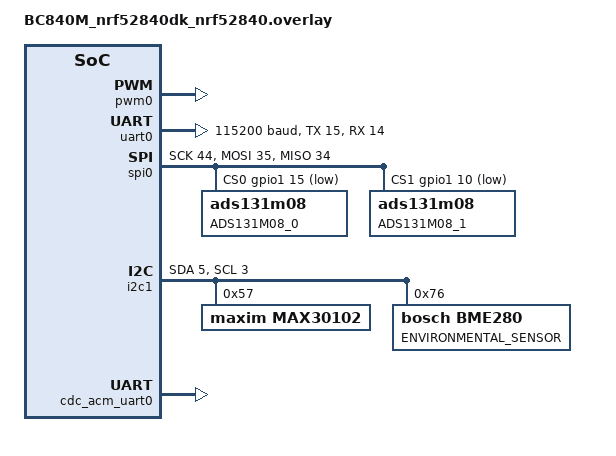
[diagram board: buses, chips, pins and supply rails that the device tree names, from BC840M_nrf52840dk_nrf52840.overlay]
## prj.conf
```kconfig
CONFIG_INIT_STACKS=y
CONFIG_THREAD_STACK_INFO=y
CONFIG_MAIN_STACK_SIZE=2048
CONFIG_SYSTEM_WORKQUEUE_STACK_SIZE=4096
CONFIG_BT_RX_STACK_SIZE=4096

# PWM
CONFIG_PWM=y
CONFIG_PWM_NRF5_SW=n
CONFIG_PWM_NRFX=y


CONFIG_GPIO=y
CONFIG_SPI=y
#CONFIG_SPI_0=y

# choose UART console
CONFIG_UART_CONSOLE=y

# Debug config
CONFIG_LOG=y
CONFIG_LOG_BUFFER_SIZE=2048
CONFIG_LOG_DEFAULT_LEVEL=4
# RTT Viewer
CONFIG_USE_SEGGER_RTT=y
CONFIG_LOG_BACKEND_RTT=y
#CONFIG_LOG_BACKEND_RTT_MODE_DROP=y
CONFIG_LOG_PRINTK=y

# BLE
CONFIG_BT=y
#CONFIG_BT_DEBUG_LOG=y
CONFIG_BT_PERIPHERAL=y
CONFIG_BT_DEVICE_NAME="BT840"
CONFIG_BT_GATT_CLIENT=y
CONFIG_BT_HCI_ACL_FLOW_CONTROL=y
CONFIG_BT_USER_PHY_UPDATE=y
CONFIG_BT_CTLR_PHY_2M=y
CONFIG_BT_CTLR_PHY_CODED=n
CONFIG_BT_ATT_PREPARE_COUNT=10
CONFIG_BT_CONN_TX_MAX=10
CONFIG_BT_L2CAP_TX_BUF_COUNT=10
CONFIG_BT_BUF_ACL_TX_SIZE=250
CONFIG_BT_BUF_ACL_RX_SIZE=250
CONFIG_BT_L2CAP_TX_MTU=250

# C++
CONFIG_CPLUSPLUS=y
CONFIG_LIB_CPLUSPLUS=y
CONFIG_NEWLIB_LIBC=y
#if  printf should be able to print float
CONFIG_NEWLIB_LIBC_FLOAT_PRINTF=y

#MAX30102
CONFIG_I2C=y

#BME280
CONFIG_SENSOR=y
CONFIG_BME280=y

#I2S AudioModule
CONFIG_I2S=y

# Digital Microphone (DMIC) Module
CONFIG_AUDIO=y
CONFIG_AUDIO_DMIC=y

# For FFT implementation
CONFIG_CMSIS_DSP=y
CONFIG_CMSIS_DSP_TRANSFORM=y
CONFIG_CMSIS_DSP_COMPLEXMATH=y
CONFIG_NEWLIB_LIBC=y
CONFIG_FPU=y

#USB transfer
CONFIG_USB_DEVICE_STACK=y
CONFIG_USB_DEVICE_PRODUCT="BT840"
# CONFIG_USB_DRIVER_LOG_LEVEL_ERR=y
# CONFIG_USB_DEVICE_LOG_LEVEL_ERR=y
CONFIG_SERIAL=y
# CONFIG_UART_CONSOLE=y
CONFIG_CONSOLE=n
CONFIG_UART_LINE_CTRL=y
CONFIG_UART_ASYNC_API=y
#CONFIG_UART_INTERRUPT_DRIVEN=y

CONFIG_HEAP_MEM_POOL_SIZE=2048

# Needed for FOTA
########################################################
# Enable mcumgr.
CONFIG_MCUMGR=y

# Ensure an MCUboot-compatible binary is generated.
CONFIG_BOOTLOADER_MCUBOOT=y
#CONFIG_NCS_SAMPLE_MCUMGR_BT_OTA_DFU=y

# Enable most core commands.
CONFIG_MCUMGR_CMD_IMG_MGMT=y
CONFIG_MCUMGR_CMD_OS_MGMT=y

# MCUboot log level
CONFIG_MCUBOOT_UTIL_LOG_LEVEL_WRN=y

# Allow for large Bluetooth data packets.
CONFIG_BT_L2CAP_TX_MTU=252
CONFIG_BT_BUF_ACL_RX_SIZE=256

# Enable the Bluetooth (unauthenticated) and shell mcumgr transports.
CONFIG_MCUMGR_SMP_BT=y
CONFIG_MCUMGR_SMP_BT_AUTHEN=n
CONFIG_MCUMGR_SMP_BT_CONN_PARAM_CONTROL=y
########################################################
```

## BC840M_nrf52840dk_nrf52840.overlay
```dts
// To get started, press Ctrl+Space to bring up the completion menu and view the available nodes.
// For more help, browse the DeviceTree documentation at https: //docs.zephyrproject.org/latest/guides/dts/index.html

&pwm0 {
	status = "okay";
	ch0-pin = <37>;
	//ch0-inverted;
};

&uart0 {
    status = "okay";
    current-speed = <115200>;
    tx-pin = <15>; //15 (BC840M), 13 (BT840)
    rx-pin = <14>; //14 (BC840M), 32 (BT840)
    rts-pin = <0xFFFFFFFF>;
    cts-pin = <0xFFFFFFFF>;
};

&spi0 {
    compatible = "nordic,nrf-spim";
    status = "okay";
    sck-pin =  <44>;         //44 (BC840M),  15 (BT840)
    mosi-pin = <35>; //DIN   //35 (BC840M),  14 (BT840)
    miso-pin = <34>; //DOUT  //34 (BC840M),  34 (BT840)
    cs-gpios = <&gpio1 15 GPIO_ACTIVE_LOW>, <&gpio1 10 GPIO_ACTIVE_LOW>; //1.15 and 1.10 (BC840M), 1.01 and 1.15 (BT840)

    ads131m08_0: ads131m08@0 {
        status = "okay";
        reg = <0>;
        label = "ADS131M08_0";
    };

    ads131m08_1: ads131m08@1 {
        status = "okay";
        reg = <1>;
        label = "ADS131M08_1";
    };
};

&spi1 {
    status = "disabled";
};

&i2c0 {
    status = "disabled";
};

&i2c1 {
    status = "okay";
    sda-pin = <5>; //5 (BC840M), 26 (BT840)
    scl-pin = <3>; //3 (BC840M), 27 (BT840)
    max30102@57 {
        compatible = "maxim,max30102";
        label = "MAX30102";
        reg = <0x57>;
        mode = <2>;
        status = "okay";
    };
    bme280: bme280@76 {
        /* 0x76 - SDO <-> GND */
        /* 0x77 - SDO <-> VCC */
        compatible = "bosch,bme280";
        reg = <0x76>;
        label = "ENVIRONMENTAL_SENSOR";
    };
};

&zephyr_udc0 {
    cdc_acm_uart0 {
        compatible = "zephyr,cdc-acm-uart";
        label = "CDC_ACM_0";
    };
};
```

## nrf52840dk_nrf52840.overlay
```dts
// To get started, press Ctrl+Space to bring up the completion menu and view the available nodes.
// For more help, browse the DeviceTree documentation at https: //docs.zephyrproject.org/latest/guides/dts/index.html

&pwm0 {
	status = "okay";
	ch0-pin = <37>;
	//ch0-inverted;
};

&uart0 {
    status = "okay";
    current-speed = <115200>;
    tx-pin = <13>; //15 (BC840M), 13 (BT840)
    rx-pin = <32>; //14 (BC840M), 32 (BT840)
    rts-pin = <0xFFFFFFFF>;
    cts-pin = <0xFFFFFFFF>;
};

&spi0 {
    compatible = "nordic,nrf-spim";
    status = "okay";
    sck-pin =  <15>;         //44 (BC840M),  15 (BT840)
    mosi-pin = <14>; //DIN   //35 (BC840M),  14 (BT840)
    miso-pin = <34>; //DOUT  //34 (BC840M),  34 (BT840)
    cs-gpios = <&gpio1 1 GPIO_ACTIVE_LOW>, <&gpio1 15 GPIO_ACTIVE_LOW>; //1.15 and 1.10 (BC840M), 1.01 and 1.15 (BT840)

    ads131m08_0: ads131m08@0 {
        status = "okay";
        reg = <0>;
        label = "ADS131M08_0";
    };

    ads131m08_1: ads131m08@1 {
        status = "okay";
        reg = <1>;
        label = "ADS131M08_1";
    };
};

&spi1 {
    status = "disabled";
};

&i2c0 {
    status = "disabled";
};

&i2c1 {
    status = "okay";
    sda-pin = <26>; //5 (BC840M), 26 (BT840)
    scl-pin = <27>; //3 (BC840M), 27 (BT840)
    max30102@57 {
        compatible = "maxim,max30102";
        label = "MAX30102";
        reg = <0x57>;
        mode = <2>;
        status = "okay";
    };
    bme280: bme280@76 {
        /* 0x76 - SDO <-> GND */
        /* 0x77 - SDO <-> VCC */
        compatible = "bosch,bme280";
        reg = <0x76>;
        label = "ENVIRONMENTAL_SENSOR";
    };
};

&zephyr_udc0 {
    cdc_acm_uart0 {
        compatible = "zephyr,cdc-acm-uart";
        label = "CDC_ACM_0";
    };
};


// &clock {
//     hfclkaudio-frequency = <11289600>;
// };

// i2s_rxtx: &i2s0 {
//     status = "okay";
//     sck-pin = <45>;
//     lrck-pin = <46>;
//     sdout-pin = <44>;
//     sdin-pin = <42>;
//     clock-source = "ACLK";
// };

// dmic_dev: &pdm0 {
// 	status = "okay";
// 	clk-pin = <36>;
// 	din-pin = <23>;
// 	clock-source = "ACLK";
// };
```

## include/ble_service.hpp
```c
#pragma once

#include <functional>

#include "ble_types.hpp"
#include "commandid.hpp"

namespace Bluetooth
{
    /**
     * @brief Function used to setup BLE Service
     * 
     * @return BLE error code 
     */
    int SetupBLE();

    /**
     * @brief Send BLE notification through ADS131M08 Data Pipe.
     * 
     * @param data pointer to datasource containing ADS131M08 data samples
     * @param len  the number of samples to transfer
     */
    void Ads131m08Notify(const uint8_t* data, const uint8_t len);

    /**
     * @brief Send BLE notification through ADS131M08_1 Data Pipe.
     * 
     * @param data pointer to datasource containing ADS131M08 data samples
     * @param len  the number of samples to transfer
     */
    void Ads131m08_1_Notify(const uint8_t* data, const uint8_t len);

    /**
     * @brief Send BLE notification through MAX30102 Data Pipe.
     * 
     * @param data pointer to datasource containing MAX30102 data samples
     * @param len  the number of samples to transfer
     */
    void Max30102Notify(const uint8_t* data, const uint8_t len);

    /**
     * @brief Send BLE notification through MPU6050 Data Pipe.
     * 
     * @param data pointer to datasource containing MPU6050 data samples
     * @param len  the number of samples to transfer
     */
    void Mpu6050Notify(const uint8_t* data, const uint8_t len);

    /**
     * @brief Send BLE notification through QMC5883L Data Pipe.
     * 
     * @param data pointer to datasource containing QMC5883L data samples
     * @param len  the number of samples to transfer
     */
    void Qmc5883lNotify(const uint8_t* data, const uint8_t len);

    /**
     * @brief Send BLE notification through BME280 Data Pipe.
     * 
     * @param data pointer to datasource containing BME280 data samples
     * @param len  the number of samples to transfer
     */
    void Bme280Notify(const uint8_t* data, const uint8_t len);

    /**
     * @brief Start taking signal strength (RSSI) values
     * @param rssi pointer to signal strength value
     */
    void read_conn_rssi(int8_t *rssi);

    /**
     * @brief Start taking signal strength (RSSI) values
     */
    void RssiStartSampling();
    
    /**
     * @brief Stop taking signal strength (RSSI) values
     */
    void RssiStopSampling();

    /**
     * @brief Register Control callback
     * 
     * @param commandId command ID
     * @param action Action to call when command ith commandId is received via BLE
     */
    void GattRegisterControlCallback(CommandId commandId, BleControlAction&& action);

}
```

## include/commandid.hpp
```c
#pragma once

#include <stddef.h>

/**
 * @brief Ids for commands sent via ble Gatt control characteristic
 */
enum class CommandId : uint8_t
{
    Ads131m08Cmd = 1,
    Bme280Cmd = 2,
    Max30102Cmd = 3,
    Mpu6050Cmd = 4,
    Qmc5883lCmd = 5,
    AlarmCmd = 6,  ///< Start/Stop playing Alarm
    DmicCmd = 7,   ///< Commands for Digital Microphone (DMIC)
    SystemCmd = 8, ///< For sending commands on the app/system level from where we can control every sensor/module
};
```

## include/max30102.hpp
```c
#pragma once

#include <zephyr/types.h>
#include <device.h>
#include <drivers/gpio.h>
//#include <drivers/i2c.h>
#include <sys/util.h>
#include <atomic>
#include "i2c_transport.hpp"
#include "device_string.hpp"

class UsbCommHandler;
//#define DT_DRV_COMPAT maxim_max30102

#define MAX30102_REG_INT_STS1 0x00
#define MAX30102_REG_INT_STS2 0x01
#define MAX30102_REG_INT_EN1 0x02
#define MAX30102_REG_INT_EN2 0x03
#define MAX30102_REG_FIFO_WR 0x04
#define MAX30102_REG_FIFO_OVF 0x05
#define MAX30102_REG_FIFO_RD 0x06
#define MAX30102_REG_FIFO_DATA 0x07
#define MAX30102_REG_FIFO_CFG 0x08
#define MAX30102_REG_MODE_CFG 0x09
#define MAX30102_REG_SPO2_CFG 0x0a
#define MAX30102_REG_LED1_PA 0x0c
#define MAX30102_REG_LED2_PA 0x0d
/* #define MAX30102_REG_LED3_PA		0x0e */
#define MAX30102_REG_PILOT_PA 0x10
#define MAX30102_REG_MULTI_LED1 0x11
#define MAX30102_REG_MULTI_LED2 0x12
#define MAX30102_REG_TINT 0x1f
#define MAX30102_REG_TFRAC 0x20
#define MAX30102_REG_TEMP_CFG 0x21
#define MAX30102_REG_PROX_INT 0x30
#define MAX30102_REG_REV_ID 0xfe
#define MAX30102_REG_PART_ID 0xff

#define MAX30102_INT_PPG_MASK (1 << 6)

#define MAX30102_FIFO_CFG_SMP_AVE_SHIFT 5
#define MAX30102_FIFO_CFG_FIFO_FULL_SHIFT 0
#define MAX30102_FIFO_CFG_ROLLOVER_EN_MASK (1 << 4)

#define MAX30102_MODE_CFG_SHDN_MASK (1 << 7)
#define MAX30102_MODE_CFG_RESET_MASK (1 << 6)

#define MAX30102_SPO2_ADC_RGE_SHIFT 5
#define MAX30102_SPO2_SR_SHIFT 2
#define MAX30102_SPO2_PW_SHIFT 0

#define MAX30102_PART_ID 0x15

#define FIFO_A_FULL_MASK    (1 << 7)
#define PPG_RDY_MASK        (1 << 6)
#define ALC_OVF_MASK        (1 << 5)
#define PWR_RDY_MASK        (1 << 0)
#define DIE_TEMP_RDY_MASK   (1 << 1)

#define MAX30102_BYTES_PER_CHANNEL 3
#define MAX30102_MAX_NUM_CHANNELS 2
#define MAX30102_MAX_BYTES_PER_SAMPLE (MAX30102_MAX_NUM_CHANNELS * \
                                       MAX30102_BYTES_PER_CHANNEL)

#define MAX30102_SLOT_LED_MASK 0x03

#define MAX30102_FIFO_DATA_BITS 18
#define MAX30102_FIFO_DATA_MASK ((1 << MAX30102_FIFO_DATA_BITS) - 1)

#define MAX30102_INTR_2_DIE_TEMP_RDY_EN 2
#define MAX30102_TEMP_CFG_TEMP_EN 1

/* Interrupt Status 1 Register */
#define MAX30102_INTR_STATUS_1_A_FULL(x) (((x) >> 7) & 0x1)
#define MAX30102_INTR_STATUS_1_PPG_RDY(x) (((x) >> 6) & 0x1)
#define MAX30102_INTR_STATUS_1_ALC_OVF(x) (((x) >> 5) & 0x1)
#define MAX30102_INTR_STATUS_1_PWR_RDY(x) (((x) >> 0) & 0x1)

/* Interrupt Status 2 Register */
#define MAX30102_INTR_STATUS_2_DIE_TEMP_RDY(x) (((x) >> 1) & 0x1)

    struct max30102_config {
        uint8_t interrupt_config_1;
        uint8_t interrupt_config_2;
        uint8_t fifo_config;
        uint8_t mode_config;
        uint8_t spo2_config;
        uint8_t led_pa[MAX30102_MAX_NUM_CHANNELS];
        uint8_t slot_config[MAX30102_MAX_NUM_CHANNELS];
    };

    enum class max30102_mode : uint8_t {
        MAX30102_MODE_HEART_RATE = 2,
        MAX30102_MODE_SPO2 = 3,
        MAX30102_MODE_MULTI_LED = 7,
    };

    enum class max30102_slot : uint8_t {
        MAX30102_SLOT_DISABLED = 0,
        MAX30102_SLOT_RED_LED1_PA,
        MAX30102_SLOT_IR_LED2_PA,
        MAX30102_SLOT_GREEN_LED3_PA,
        MAX30102_SLOT_RED_PILOT_PA,
        MAX30102_SLOT_IR_PILOT_PA,
        MAX30102_SLOT_GREEN_PILOT_PA,
    };

    enum class max30102_led_channel : uint8_t {
        MAX30102_LED_CHANNEL_RED = 0,
        MAX30102_LED_CHANNEL_IR,
        MAX30102_LED_CHANNEL_GREEN,
    };

    enum class max30102_pw : uint8_t {
        MAX30102_PW_15BITS = 0,
        MAX30102_PW_16BITS,
        MAX30102_PW_17BITS,
        MAX30102_PW_18BITS,
    };

    enum class max30102_intr_1 : uint8_t {
        MAX30102_INTR_1_ALC_OVF_EN = 32,
        MAX30102_INTR_1_PPG_RDY_EN = 64,
        MAX30102_INTR_1_A_FULL_EN = 128,
    };

/**
 * @brief Max30102 driver
 */
class Max30102 {

    using I2C_1DeviceName = DeviceString<'I', '2', 'C', '_', '1'>; 

    constexpr static uint8_t max30102_i2c_address = 0x57; //I2C Address
    constexpr static uint8_t max30102_id = 0x15; // Part ID
    uint8_t tx_buf[195] = {};

    struct max30102_data {
        const struct device *i2c;
        uint32_t raw[MAX30102_MAX_NUM_CHANNELS];
        uint8_t map[MAX30102_MAX_NUM_CHANNELS];
        uint8_t num_channels;

        /* Die temperature */
        int8_t tint;
        uint8_t tfrac;
    };

public:
    /**
     * @brief Construct a new Max30102 object
     */
    Max30102(UsbCommHandler &controller);

    /**
     * @brief Initialization function. Used to perform actual initialization. Because of software stack initialization
     * could not be done in constructor
     * @return Status, 0 for no errors
     */
    int Initialize();    

    /**
     * @brief Configure Max30102 device
     * 
     * @param config Configuration details
     * @return Status, 0 for no errors
     */
    int Configure(max30102_config config);

    /**
     * @brief Start taking Red and IR samples
     */
    void StartSampling();    

    /**
     * @brief Stop taking Red and IR samples
     */
    void StopSampling();

    /**
     * @brief Initiate Single Temperature Reading. Max30102 will generate interrupt when temperature sample is available.
     */
    void InitiateTemperatureReading();    

    /**
     * @brief Handle Max30102 Interrupt. Figure out interrupt reason and take the appropriate action
     */
    void HandleInterrupt(); 

    /**
     * @brief Check if MAX30102 device is connected to I2C bus
     */
    bool IsOnI2cBus(); 

private:
    /**
     * @brief Reset Max30102 device
     */
    void Reset();

    /**
     * @brief Shutdown Max30102 device
     */
    void Shutdown();

    /**
     * @brief Wakeup Max30102 device
     */
    void Wakeup();
    
    /**
     * @brief Read Temperature Registers
     */
    void TemperatureRead();
    uint8_t packet_cnt;
    std::atomic<bool> max30102_is_on_i2c_bus_; ///< Device status
    I2CTransport<I2C_1DeviceName, max30102_i2c_address> transport; ///< I2C transport for device
    UsbCommHandler &serialHandler; ///< USB communication controller

};
```

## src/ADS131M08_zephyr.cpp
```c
#include <zephyr.h>
#include <string.h>
#include <init.h>
#include <drivers/gpio.h>
#include <sys/printk.h>
//#include <sys/__assert.h>
#include <stdlib.h>
#include <drivers/spi.h>
#include <logging/log.h>

#include "ADS131M08_zephyr.hpp"

LOG_MODULE_REGISTER(ads131m08);

ADS131M08::ADS131M08() {

    LOG_INF("ADS131M08 Constructor!");
    // CS = cs; XTAL = xtal; DRDY = drdy; //You don't have to use DRDY, can also read off the ADS131_STATUS register.
    // SpiClk = clk;
}

void ADS131M08::init(uint8_t cs_pin, uint8_t drdy_pin, uint8_t sync_rst_pin, uint32_t spi_frequency) {

    LOG_INF("Starting ADS131M08 Initialization...");
    int ret = 0;

/* Configure DRDY and SYNC/RESET GPIOs */
    uint8_t SYNCRST;
    if(sync_rst_pin >= 100) {
        gpioDevice = device_get_binding("GPIO_1");
        SYNCRST = sync_rst_pin - 100;
    } else if(sync_rst_pin >= 32) {
        gpioDevice = device_get_binding("GPIO_1");
        SYNCRST = sync_rst_pin - 32;
    } else {
        gpioDevice = device_get_binding("GPIO_0");
        SYNCRST = sync_rst_pin;
    }
    if(gpioDevice == nullptr){
        deviceStatus.store(-1, std::memory_order_relaxed);
        LOG_ERR("***ERROR: Not able to properly bind GPIO_0 device!");
    }

    ret = gpio_pin_configure(gpioDevice, SYNCRST, GPIO_OUTPUT_ACTIVE); // Set SYNC/RESET pin to HIGH
    //ret += gpio_pin_configure(gpioDevice, drdy_pin, GPIO_INPUT | GPIO_PULL_UP);
    //ret += gpio_pin_interrupt_configure(gpioDevice, drdy_pin, GPIO_INT_EDGE_FALLING);
    //gpio_init_callback(&callback, ads131m08_drdy_cb, BIT(drdy_pin));    
    //ret += gpio_add_callback(gpioDevice, &callback);
    if (ret != 0){
        LOG_ERR("***ERROR: GPIO initialization\n");
    } 
    
    gpio_pin_set(gpioDevice, SYNCRST, 0);
    k_sleep(K_MSEC(20)); // give some time to ADS131 to settle after power on
    gpio_pin_set(gpioDevice, SYNCRST, 1);

    // Try to bind chip select device

    if(cs_pin >= 100) {
        csConfig.gpio_dev = device_get_binding("GPIO_1");
        csConfig.gpio_pin = cs_pin - 100;
    } else if(cs_pin >= 32) {
        csConfig.gpio_dev = device_get_binding("GPIO_1");
        csConfig.gpio_pin = cs_pin - 32;
    } else {
        csConfig.gpio_dev = device_get_binding("GPIO_0");
        csConfig.gpio_pin = cs_pin;
    }

    csConfig.delay = 0;
    csConfig.gpio_dt_flags = GPIO_ACTIVE_LOW;

    // Bind SPI device only if chip select device successfully binded
    if (csConfig.gpio_dev)
    {
        spiConfig.frequency = spi_frequency;
        spiConfig.operation = SPI_MODE_CPHA | SPI_WORD_SET(8); //< Default Word Size of ADS131M08 is 24
        spiConfig.slave = 0;
        spiConfig.cs = &csConfig;

        spiDevice = device_get_binding("SPI_0");
    }

    if (spiDevice == nullptr)
    {
        deviceStatus.store(-1, std::memory_order_relaxed);
        LOG_ERR("***ERROR: Not able to properly initialize SPI device");
    } else {
        LOG_INF("SPI bus Int'd!");
    }    
    
}

//void ADS131M08::ads131m08_drdy_cb(const struct device *port, struct gpio_callback *cb, gpio_port_pins_t pins){
//    LOG_INF("Data READY!");
//}

uint16_t ADS131M08::readReg(uint8_t reg) {
    /* Reads the content of single register found at address reg
        Returns register value
    */   
    uint8_t commandPref = 0x0A;

    // Make command word using syntax found in data sheet
    uint16_t commandWord = (commandPref << 12) + (reg << 7);

    uint8_t cmdFrame[nWordsInFrame*nBytesInWord] = {0};
    cmdFrame[0] = commandWord >> 8;
    cmdFrame[1] = (uint8_t)(commandWord & 0xFF);

/* Send Command Frame */
    spiCommandFrame(nWordsInFrame*nBytesInWord, cmdFrame);
    k_msleep(1);
/* Read Response */
    return spiResponseFrame(3);    
}

void ADS131M08::spiCommandFrame(uint8_t frame_size, uint8_t *cmdFrame) {

    if (spiDevice != nullptr)
    {
        int status;
        const struct spi_buf txBuffers[] = {
            {
                .buf = cmdFrame,
                .len = frame_size,
            },
        };
        const struct spi_buf rxBuffers[] = {
            {
                .buf = NULL,
                .len = frame_size,
            },
        };
        const struct spi_buf_set txSet = {
            .buffers = txBuffers,
            .count = sizeof(txBuffers) / sizeof(spi_buf),
        };
        const struct spi_buf_set rxSet = {
            .buffers = rxBuffers,
            .count = sizeof(rxBuffers) / sizeof(spi_buf),
        };

        status = spi_transceive(spiDevice, &spiConfig, &txSet, &rxSet);

        deviceStatus.store(status, std::memory_order_relaxed);
    }
}

uint16_t ADS131M08::spiResponseFrame(uint8_t frame_size) {
    uint16_t value = 0;
    uint8_t resp_buffer[2] = {0};

    if (spiDevice != nullptr)
    {
        int status;
        const struct spi_buf txBuffers[] = {
            {
                .buf = NULL,
                .len = frame_size,
            },
        };
        const struct spi_buf rxBuffers[] = {
            {
                .buf = resp_buffer,
                .len = 2,
            },
            {
                .buf = NULL,
                .len = (frame_size - 2),
            },
        };
        const struct spi_buf_set txSet = {
            .buffers = txBuffers,
            .count = sizeof(txBuffers) / sizeof(spi_buf),
        };
        const struct spi_buf_set rxSet = {
            .buffers = rxBuffers,
            .count = sizeof(rxBuffers) / sizeof(spi_buf),
        };

        status = spi_transceive(spiDevice, &spiConfig, &txSet, &rxSet);

        deviceStatus.store(status, std::memory_order_relaxed);
    }
    return (resp_buffer[0] << 8) | resp_buffer[1];
}

void ADS131M08::spiDataFrame(uint8_t frame_size, uint8_t *data_buffer) {

    uint8_t dummy_frame[frame_size] = {0};

    if (spiDevice != nullptr)
    {
        int status;
        const struct spi_buf txBuffers[] = {
            {
                .buf = dummy_frame,
                .len = frame_size,
            },
        };
        const struct spi_buf rxBuffers[] = {
            {
                .buf = data_buffer,
                .len = frame_size,
            },
        };
        const struct spi_buf_set txSet = {
            .buffers = txBuffers,
            .count = sizeof(txBuffers) / sizeof(spi_buf),
        };
        const struct spi_buf_set rxSet = {
            .buffers = rxBuffers,
            .count = sizeof(rxBuffers) / sizeof(spi_buf),
        };

        status = spi_transceive(spiDevice, &spiConfig, &txSet, &rxSet);

        deviceStatus.store(status, std::memory_order_relaxed);
    }
}

bool ADS131M08::writeReg(uint8_t reg, uint16_t data) {
    /* Writes the content of data to the register reg
        Returns true if successful
    */
    uint16_t writeResponse = 0;
    uint8_t commandPref = 0x06;

    // Make command word using syntax found in data sheet
    uint16_t commandWord = (commandPref<<12) + (reg<<7);

    uint8_t cmdFrame[9] = {0}; //< We write only WREG command and one Register data in this Frame
    cmdFrame[0] = commandWord >> 8;
    cmdFrame[1] = (uint8_t)(commandWord & 0xFF);
    cmdFrame[3] = data >> 8;
    cmdFrame[4] = (uint8_t)(data & 0xFF);

/* Send Command Frame */
    spiCommandFrame(9, cmdFrame);
    k_msleep(10);
/* Read Response */
    writeResponse = spiResponseFrame(3);
    //LOG_INF("WriteReg response: 0x%X", writeResponse);

    if ( ( (0x04<<12) + (reg<<7) ) == writeResponse) {
        return true;
    } else {
        return false;
    }
}

bool ADS131M08::setGain(uint8_t gain) { // apply gain to all channels (1 to 128, base 2 (1,2,4,8,16,32,64,128))
    uint16_t writeGain = 0;
    
    switch(gain){
        case 1:
            writeGain = 0x0000;
            break;
        case 2:
            writeGain = 0x1111;
            break;        
        case 4:
            writeGain = 0x2222;
            break; 
        case 8:
            writeGain = 0x3333;
            break;                                
        case 16:
            writeGain = 0x4444;
            break;             
        case 32:
            writeGain = 0x5555;
            break;             
        case 64:
            writeGain = 0x6666;
            break;             
        case 128:
            writeGain = 0x7777;
            break;             
        default:
            writeGain = 0x0000;
            break;
    }

    if(writeReg(ADS131_GAIN1, writeGain)){
        k_msleep(10);
        if(writeReg(ADS131_GAIN2, writeGain)){
            return true;
        }else{
            return false;
        }                
    }else {
        return false;
    }
}

void ADS131M08::readAllChannels(uint8_t * data_buffer) {
    
    spiDataFrame(nWordsInFrame*nBytesInWord, data_buffer);
/*    
    uint32_t rawDataArr[10];
    int8_t channelArrPtr = 0;
    int8_t channelArrLen = 8;

    // Get data
    spiCommFrame(&rawDataArr[0]);
    // Save the decoded data for each of the channels
    for (int8_t i = 0; i<8; i++) {
        inputArr[i] = twoCompDeco(rawDataArr[channelArrPtr+1]);
        channelArrPtr++;
    }
*/

}

#if 0
#include "ADS131M08.hpp"

#include <kernel.h>
#include <string.h>
#include <drivers/sensor.h>
#include <init.h>
#include <drivers/gpio.h>
#include <sys/printk.h>
#include <sys/__assert.h>
#include <stdlib.h>
#include <drivers/spi.h>
#include <logging/log.h>

ADS131M08::ADS131M08(int cs, int xtal, int drdy, int clk) {

    // CS = cs; XTAL = xtal; DRDY = drdy; //You don't have to use DRDY, can also read off the ADS131_STATUS register.
    // SpiClk = clk;
}

void ADS131M08::init(const struct device *dev) {

    Serial.println("Setting pin configuration");

    device = dev; //set device config
        
    // pinMode(CS, OUTPUT); digitalWrite(CS, HIGH);
    // pinMode(DRDY, INPUT_PULLUP);
    
    // spi->begin();

    // Serial.println("Setting oscillator");

    // ledcSetup(2, clkin, 2);
    // ledcAttachPin(XTAL, 2); //Simulate 8.192Mhz crystal with PWM. This needs to be started as soon as possible after powering on
    // ledcWrite(2,2);

    Serial.println("SPI Ready...");

}

void ADS131M08::readChannels(int8_t * channelArrPtr, int8_t channelArrLen, int32_t * outputArrPtr) {
    
    uint32_t rawDataArr[10];

    // Get data
    spiCommFrame(&rawDataArr[0]);
    
    // Save the decoded data for each of the channels
    for (int8_t i = 0; i<channelArrLen; i++) {
        *outputArrPtr = twoCompDeco(rawDataArr[*channelArrPtr+1]);
        outputArrPtr++;
        channelArrPtr++;
    }
    
}

void ADS131M08::readAllChannels(int32_t inputArr[8]) {
    uint32_t rawDataArr[10];
    int8_t channelArrPtr = 0;
    int8_t channelArrLen = 8;

    // Get data
    spiCommFrame(&rawDataArr[0]);
    // Save the decoded data for each of the channels
    for (int8_t i = 0; i<8; i++) {
        inputArr[i] = twoCompDeco(rawDataArr[channelArrPtr+1]);
        channelArrPtr++;
    }
}

int32_t ADS131M08::readChannelSingle(int8_t channel) {
    /* Returns raw value from a single channel
        channel input from 0-7
    */
    
    int32_t outputArr[1];
    int8_t channelArr[1] = {channel};

    readChannels(&channelArr[0], 1, &outputArr[0]);

    return outputArr[0];
}

bool ADS131M08::globalChop(bool enabled, uint8_t log2delay) {
    /* Function to configure global chop mode for the ADS131M04.

        INPUTS:
        enabled - Whether to enable global-chop mode.
        log2delay   - Base 2 log of the desired delay in modulator clocks periods
        before measurment begins
        Possible values are between and including 1 and 16, to give delays
        between 2 and 65536 clock periods respectively
        For more information, refer to the datasheet.

        Returns true if settings were written succesfully.
    */

    uint8_t delayRegData = log2delay - 1;

    // Get current settings for current detect mode from the CFG register
    uint16_t currentDetSett = (readReg(ADS131_CFG) << 8) >>8;
    
    uint16_t newRegData = (delayRegData << 12) + (enabled << 8) + currentDetSett;

    return writeReg(ADS131_CFG, newRegData);
}

uint32_t ADS131M08::writeReg(uint8_t reg, uint16_t data) {
    uint8_t cmd = 0x06;
    uint16_t cmdWord = (cmd << 12) + (reg << 7);

    //write CS LOW
    //begin transaction

    spiTransferWord(cmdWord);
    spiTransferWord(data);

    //send 4 empty words
    for(uint8_t i=0; i<4; i++) {
        spiTransferWord();
    }

    //end transaction
    //write CS HIGH

    //get response
    uint32_t responseArr[10];
    spiCommFrame(&responseArr[0]);

    if ( ( (0x04<<12) + (reg<<7) ) == responseArr[0]) {
        return true;
    } else {
        return false;
    }
}

uint32_t ADS131M08::readReg(uint8_t reg) {
    uint8_t cmd = 0x0A;
    uint16_t cmdWord = (cmd << 12) + (reg << 7);

    uint32_t responseArr[10];

    //send command
    spiCommFrame(&responseArr[0], cmdWord);

    //read response
    spiCommFrame(&responseArr[0]);

    return responseArr[0] >> 16;
}

uint32_t ADS131M08::spiTransferWord(uint16_t bytes) {
    const struct spi_buf buf[2] = { 
        {
            .buf = bytes,
            .len = 2
        }, 
        {
            .buf = 0x00,
            .len = 1
        }
    };
    const struct spi_buf_set tx = {
        .buffers = buf
    };

    const struct spi_buf_set rx = {
        { 
            .buf = 0x000000,
            .len = 3
        }
    }

    spi_transceive_dt(&device->config, &tx, &rx);
    
}

uint16_t ADS131M08::spiCommFrame(uint32_t *outPtr, uint16_t cmd) {
    //write CS LOW
    //begin transaction

    *outPtr = spiTransferWord(cmd);

    // For the next 8 words, just read the data
    for(uint8_t i=1; i<9; i++) {    
        outPtr++;
        *outPtr = spiTransferWord() >> 8;
    }   

    //save CRC bits
    outPtr++;
    *outPtr = spiTransferWord();

    //end transaction
    //write CS high

}


// bool ADS131M08::writeReg(uint8_t reg, uint16_t data) {
//     /* Writes the content of data to the register reg
//         Returns true if successful
//     */
    
//     uint8_t commandPref = 0x06;

//     // Make command word using syntax found in data sheet
//     uint16_t commandWord = (commandPref<<12) + (reg<<7);

//     digitalWrite(CS, LOW);
//     spi->beginTransaction(SPISettings(SpiClk, MSBFIRST, SPI_MODE1));

//     spiTransferWord(commandWord);
    
//     spiTransferWord(data);

//     // Send 4 empty words
 
//     for (uint8_t i=0; i<4; i++) {
//         spiTransferWord();
//     }

//     spi->endTransaction();
//     digitalWrite(CS, HIGH);

//     // Get response
//     uint32_t responseArr[10];
//     spiCommFrame(&responseArr[0]);

//     if ( ( (0x04<<12) + (reg<<7) ) == responseArr[0]) {
//         return true;
//     } else {
//         return false;
//     }
// }

// uint16_t ADS131M08::readReg(uint8_t reg) {
//     /* Reads the content of single register found at address reg
//         Returns register value
//     */
    
//     uint8_t commandPref = 0x0A;

//     // Make command word using syntax found in data sheet
//     uint16_t commandWord = (commandPref << 12) + (reg << 7);

//     uint32_t responseArr[10];
//     // Use first frame to send command
//     spiCommFrame(&responseArr[0], commandWord);

//     // Read response
//     spiCommFrame(&responseArr[0]);

//     return responseArr[0] >> 16;
// }

// uint32_t ADS131M08::spiTransferWord(uint16_t inputData) {
//     /* Transfer a 24 bit word
//         Data returned is MSB aligned
//     */ 

//     uint32_t data = spi->transfer(inputData >> 8);
//     data <<= 8;
//     data |= spi->transfer((inputData<<8) >> 8);
//     data <<= 8;
//     data |= spi->transfer(0x00);

//     return data << 8;
// }

// void ADS131M08::spiCommFrame(uint32_t * outPtr, uint16_t command) {
//     // Saves all the data of a communication frame to an array with pointer outPtr


//     /*
//     spi_write(device *dev, spi_config *config, spi_bf_set *tx_bufs)
//     spi_read(device *dev, spi_config *config, spi_buf_set *rx_bufs)
    
//     there are _async functions with struct k_poll_signal *async as the end argument
    
//     spi_release(device *dev, spi_config *config)

//     */

//     digitalWrite(CS, LOW);

//     spi->beginTransaction(SPISettings(SpiClk, MSBFIRST, SPI_MODE1));

//     // Send the command in the first word
//     *outPtr = spiTransferWord(command);

//     // For the next 8 words, just read the data
//     for (uint8_t i=1; i < 9; i++) {
//         outPtr++;
//         *outPtr = spiTransferWord() >> 8;
//     }

//     // Save CRC bits
//     outPtr++;
//     *outPtr = spiTransferWord();

//     spi->endTransaction();

//     digitalWrite(CS, HIGH);
// }

int32_t ADS131M08::twoCompDeco(uint32_t data) {
    // Take the two's complement of the data

    data <<= 8;
    int32_t dataInt = (int)data;

    return dataInt/pow(2,8);
}

bool ADS131M08::setGain(int gain) { // apply gain to all channels (1 to 128, base 2 (1,2,4,8,16,32,64,128))
    uint16_t writegain = 0;
    if(gain == 1 ) {
        writegain = 0b0000000000000000;
    }  
    else if (gain == 2) {
        writegain = 0b0001000100010001;
    }
    else if (gain == 4) {
        writegain = 0b0010001000100010;
    }
    else if (gain == 8) { 
        writegain = 0b0011001100110011;
    }
    else if (gain == 16) { 
        writegain = 0b0100010001000100;
    }
    else if (gain == 32) {
        writegain = 0b0101010101010101;
    }
    else if (gain == 64) {
        writegain = 0b0110011001100110;
    }
    else if (gain == 128) {
        writegain = 0b0111011101110111;
    }
    else {
        return false;
    }
    writeReg(ADS131_GAIN1, writegain);
    writeReg(ADS131_GAIN2, writegain);

    return true;
}

#endif
```

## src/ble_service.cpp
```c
#include <zephyr.h>

#include <bluetooth/bluetooth.h>
#include <bluetooth/conn.h>
#include <bluetooth/hci.h>
#include <bluetooth/hci_vs.h>
#include <sys/util.h>
#include <sys/byteorder.h>
#include <logging/log.h>
#include <sys/atomic.h>
#include "ble_commands.hpp"

#include "ble_gatt.hpp"
#include "ble_service.hpp"
#include <mgmt/mcumgr/smp_bt.h>


LOG_MODULE_REGISTER(bluetooth);

namespace
{

constexpr static auto RssiPollPeriod = 333;              ///< RSSI polling period in milliseconds
constexpr static uint16_t connectionIntervalMin = 6; ///< Minimal connection interval in 1.25 milliseconds intervals
constexpr static uint16_t connectionIntervalMax = 12; ///< Maximum connection interval in 1.25 milliseconds intervals //500/9 = 56.25 packets + 5 + 3 = 60 packets/sec.  1000/60 = 16.67 ms/packet. 16.67 / 1.25 = 12.5 connectionIntervalMax
constexpr static uint16_t connectionLatency = 0;     ///< Connection latancy
constexpr static uint16_t connectionTimeout = 400;   ///< Connection timeout in 10 msec intervals

//Bluetooth::Gatt::BleOutputWorker worker;   ///< Ble output characteristic worker
bt_conn *activeConnection = nullptr;       ///< Active connection
static uint16_t default_conn_handle = 0;

/**
 * @brief Callback called when MTU paramter is updated with bt_gatt_exchange_mtu() function
 */
void exchange_func(struct bt_conn *conn, uint8_t err, struct bt_gatt_exchange_params *params)
 {
    struct bt_conn_info info = {0};

    printk("MTU exchange %s\n", err == 0 ? "successful" : "failed");
    err = bt_conn_get_info(conn, &info);

    if (info.role == BT_CONN_ROLE_MASTER) {

    }
}

/**
 * @brief Callback called when new client is connected
 *
 * @param connected connected bluetooth connection
 * @param err connection error
 */
void OnClientConnected(bt_conn *connected, uint8_t err)
{
    int ret;

    if (err)
    {
        LOG_ERR("Connection failed (err %u)", err);
    }
    else
    {
        LOG_INF("Connected");

        if ((!activeConnection) && err == 0)
        {
            activeConnection = bt_conn_ref(connected);
            ret = bt_hci_get_conn_handle(activeConnection, &default_conn_handle);
            if(ret){
                LOG_ERR("No connection handle. Err: %d", ret);
            }
            /* Set MTU parameter. NOTE: It's allowed to do it only once during a connection */
            static struct bt_gatt_exchange_params exchange_params;
            exchange_params.func = exchange_func;

            int error = bt_gatt_exchange_mtu(activeConnection, &exchange_params);

            bt_conn_le_phy_param phy_param = BT_CONN_LE_PHY_PARAM_INIT(
            BT_GAP_LE_PHY_2M,
            BT_GAP_LE_PHY_2M
            );
            error = bt_conn_le_phy_update(connected, &phy_param);

            if (error){
                LOG_ERR("Failed to update BLE PHY parameters (err = %d)\n", error);
            } else {
                LOG_INF("BLE PHY updated!");
            }
        }
    }
}

/**
 * @brief Callback called when client is disconnected. Used to stop BLE notification if no clients are connected.
 *
 * @param disconn disconnected bluetooth connection
 * @param reason disconnection reason
 */
void OnClientDisconnected(struct bt_conn *disconn, uint8_t reason)
{
    if (activeConnection)
    {
        bt_conn_unref(activeConnection);
        activeConnection = nullptr;

    }
    atomic_set(&Bluetooth::Gatt::ads131m08NotificationsEnable, false);
    atomic_set(&Bluetooth::Gatt::ads131m08_1_NotificationsEnable, false);
    atomic_set(&Bluetooth::Gatt::max30102NotificationsEnable, false);
    atomic_set(&Bluetooth::Gatt::mpu6050NotificationsEnable, false);
    atomic_set(&Bluetooth::Gatt::bme280NotificationsEnable, false);
    atomic_set(&Bluetooth::Gatt::rssiNotificationsEnable, false);
    atomic_set(&Bluetooth::Gatt::qmc5883lNotificationsEnable, false);
    atomic_set(&Bluetooth::Gatt::iBeaconNotificationsEnable, false);    
    LOG_INF("Disconnected (reason %u)", reason);
}

/**
 * @brief This callback notifies the application that a remote device
 *        is requesting to update the connection parameters.
 *
 *  @param conn Connection object.
 *  @param param Proposed connection parameters.
 *  @return true to accept the parameters, or false to reject them.
 */
bool OnLeParamUpdateRequest(struct bt_conn *conn,
			     struct bt_le_conn_param *param)
{

    LOG_INF("LE Connection parameters requested!");
    LOG_INF("Min Connection Interval: %d x 1.25ms", param->interval_min);
    LOG_INF("Max Connection Interval: %d x 1.25ms", param->interval_max);
    return true;
}

/** @brief The parameters for an LE connection have been updated.
 *
 *  This callback notifies the application that the connection
 *  parameters for an LE connection have been updated.
 *
 *  @param conn Connection object.
 *  @param interval Connection interval.
 *  @param latency Connection latency.
 *  @param timeout Connection supervision timeout.
 */
void OnLeParamUpdated(struct bt_conn *conn, uint16_t interval,
				 uint16_t latency, uint16_t timeout)
{
    LOG_INF("LE connection parameters updated!");
    LOG_INF("Connection interval: %d x 1.25ms", interval);
    int error;

    if(interval >= 6){ /* If connection interval is greater than 6 x 1.25ms = 7.5ms */
        bt_le_conn_param param = BT_LE_CONN_PARAM_INIT(
            connectionIntervalMin,
            connectionIntervalMax,
            connectionLatency,
            connectionTimeout);
        error = bt_conn_le_param_update(conn, &param);

        if (error){
            LOG_ERR("Failed to update connection parameters (err = %d)\n", error);
            //return;
        } else {
            LOG_INF("Connection parameters successfully updated!");
        }
    }

}

/** @brief The PHY of the connection has changed.
 *
 *  This callback notifies the application that the PHY of the
 *  connection has changed.
 *
 *  @param conn Connection object.
 *  @param info Connection LE PHY information.
 */
void OnPhyUpdated(struct bt_conn *conn,
			     struct bt_conn_le_phy_info *param)
{

    LOG_INF("LE PHY Updated!");
    LOG_INF("TX PHY: %d", param->tx_phy);
    LOG_INF("RX PHY: %d", param->rx_phy);
}

/**
 * @brief connection status callback
 */
bt_conn_cb connectionCallbacks =
{
    .connected = OnClientConnected,
    .disconnected = OnClientDisconnected,
    .le_param_req = OnLeParamUpdateRequest,
    .le_param_updated = OnLeParamUpdated,
    .le_phy_updated = OnPhyUpdated,
};

} // namespace

namespace Bluetooth
{

    constexpr static int stackSize = 1024;           ///< Worker thread size
    constexpr static int taskPriority = 7;           ///< Worker thread priority
    K_THREAD_STACK_DEFINE(pollStackArea, stackSize); ///< Worker thread stack
    k_sem rssiPollSemaphore;    ///< Semaphore used for RSSI polling
    k_thread worker;            ///< Worker thread
    k_timer rssiPollTimer;      ///< Timer object

    static void RssiNotify(const int8_t* data, const uint8_t len);
    static void WorkingThread(void *, void *, void *);
    static void RssiPollTimerHandler(k_timer *tmr);

    /**
     * @brief Main working thread. Used to perform RSSI polling.
     *
     */
    static void WorkingThread(void *, void *, void *){
        int8_t rssi[1] = {};

        for (;;)
        {
            k_sem_take(&rssiPollSemaphore, K_FOREVER);
            //LOG_INF("Time to get RSSI!");
            Bluetooth::read_conn_rssi(rssi);
            Bluetooth::RssiNotify(rssi, 1);
        }
    }

    /**
     * @brief Timer handler. Used to queue Reading of the signal strength (RSSI) data.
     *
     * @param tmr timer object
     * @warning Called at ISR Level, no actual workload should be implemented here
     */
    static void RssiPollTimerHandler(k_timer *tmr){
        k_sem_give(&rssiPollSemaphore);
    }

/**
 * @brief Function used to setup BLE Service
 *
 * @return BLE error code
 */
int SetupBLE()
{
    //worker.Initialize();

    bt_conn_cb_register(&connectionCallbacks);

    int err = bt_enable(&Gatt::OnBluetoothStarted);
    if (err)
    {
        LOG_INF("enable Bluetooth with status %d", err);
    }

    GattRegisterControlCallback(CommandId::BleCmd, OnBleCommand);

	/* Initialize the Bluetooth mcumgr transport. */
	smp_bt_register();

    k_timer_init(&rssiPollTimer, RssiPollTimerHandler, nullptr);
    k_sem_init(&rssiPollSemaphore, 0, 1);
    k_thread_create(&worker, pollStackArea, K_THREAD_STACK_SIZEOF(pollStackArea),
                &WorkingThread, nullptr, nullptr, nullptr, taskPriority, 0, K_NO_WAIT);

    return err;
}

bool OnBleCommand(const uint8_t *buffer, CommandKey key, BleLength length, BleOffset offset){
    if (offset.value != 0 || length.value == 0)
    {
        return false;
    }
    LOG_DBG("BLE Command received");

    CommandKey bleCommand;
    memcpy(&bleCommand, &key, sizeof(key));
          
    switch(bleCommand.key[0]){
        case static_cast<uint8_t>(BleCommand::StartBeaconScan):
            Gatt::StartBeaconScanning();
            break;
        case static_cast<uint8_t>(BleCommand::StopBeaconScan):
            Gatt::StopBeaconScanning();
            break;
        
        default:
            break;
    }
    
    return true;
}

void RssiStartSampling(){
    // Start BME280 polling
    k_timer_start(&rssiPollTimer, K_MSEC(RssiPollPeriod), K_MSEC(RssiPollPeriod));
}

void RssiStopSampling(){
    k_timer_stop(&rssiPollTimer);
}

void Ads131m08Notify(const uint8_t* data, const uint8_t len)
{
    if (atomic_get(&Gatt::ads131m08NotificationsEnable))
    {
        bt_gatt_notify(nullptr, &Gatt::bt832a_svc.attrs[Gatt::CharacteristicAds131Data], data, len);
    }
}

void Ads131m08_1_Notify(const uint8_t* data, const uint8_t len)
{
    if (atomic_get(&Gatt::ads131m08_1_NotificationsEnable))
    {
        bt_gatt_notify(nullptr, &Gatt::bt832a_svc.attrs[Gatt::CharacteristicAds131_1_Data], data, len);
    }
}

/**
 * @brief Send BLE notification through MAX30102 Data Pipe.
 *
 * @param data pointer to datasource containing MAX30102 data samples
 * @param len  the number of samples to transfer
 */
void Max30102Notify(const uint8_t* data, const uint8_t len)
{
    if (atomic_get(&Gatt::max30102NotificationsEnable))
    {
        bt_gatt_notify(nullptr, &Gatt::bt832a_svc.attrs[Gatt::CharacteristicMax30102Data], data, len);
    }
}

/**
 * @brief Send BLE notification through MPU6050 Data Pipe.
 *
 * @param data pointer to datasource containing MAX30102 data samples
 * @param len  the number of samples to transfer
 */
void Mpu6050Notify(const uint8_t* data, const uint8_t len)
{
    if (atomic_get(&Gatt::mpu6050NotificationsEnable))
    {
        bt_gatt_notify(nullptr, &Gatt::bt832a_svc.attrs[Gatt::CharacteristicMpu6050Data], data, len);
    }
}

/**
 * @brief Send BLE notification through QMC5883L Data Pipe.
 *
 * @param data pointer to datasource containing MAX30102 data samples
 * @param len  the number of samples to transfer
 */
void Qmc5883lNotify(const uint8_t* data, const uint8_t len)
{
    if (atomic_get(&Gatt::qmc5883lNotificationsEnable))
    {
        bt_gatt_notify(nullptr, &Gatt::bt832a_svc.attrs[Gatt::CharacteristicQmc5883lData], data, len);
    }
}

/**
 * @brief Send BLE notification through BME280 Data Pipe.
 *
 * @param data pointer to datasource containing BME280 data samples
 * @param len  the number of samples to transfer
 */
void Bme280Notify(const uint8_t* data, const uint8_t len)
{
    //LOG_HEXDUMP_INF(data, len, "bme280");
    if (atomic_get(&Gatt::bme280NotificationsEnable))
    {
        bt_gatt_notify(nullptr, &Gatt::bt832a_svc.attrs[Gatt::CharacteristicBme280Data], data, len);
    }
}

/**
 * @brief Send BLE notification through RSSI Data Pipe.
 *
 * @param data pointer to datasource containing RSSI data
 * @param len  the number of samples to transfer
 */
static void RssiNotify(const int8_t* data, const uint8_t len)
{
    if (atomic_get(&Gatt::rssiNotificationsEnable))
    {
        bt_gatt_notify(nullptr, &Gatt::bt832a_svc.attrs[Gatt::CharacteristicRssiData], data, len);
    }
}

void read_conn_rssi(int8_t *rssi)
{
	struct net_buf *buf, *rsp = NULL;
	struct bt_hci_cp_read_rssi *cp;
	struct bt_hci_rp_read_rssi *rp;

	int err;

	buf = bt_hci_cmd_create(BT_HCI_OP_READ_RSSI, sizeof(*cp));
	if (!buf) {
		LOG_ERR("Unable to allocate command buffer\n");
		return;
	}

	cp = (bt_hci_cp_read_rssi *) (net_buf_add(buf, sizeof(*cp)));
	cp->handle = default_conn_handle; //activeConnection->handle; //sys_cpu_to_le16(activeConnection->handle);

	err = bt_hci_cmd_send_sync(BT_HCI_OP_READ_RSSI, buf, &rsp);
	if (err) {
		uint8_t reason = rsp ?
			((struct bt_hci_rp_read_rssi *)rsp->data)->status : 0;
		LOG_ERR("Read RSSI err: %d reason 0x%02x\n", err, reason);
		return;
	}

	rp = (bt_hci_rp_read_rssi *)rsp->data;
	*rssi = rp->rssi;
    //LOG_INF("Connected (%d) - RSSI = %d", default_conn_handle, *rssi);

	net_buf_unref(rsp);
}

/**
 * @brief Register Control callback
 * 
 * @param commandId command ID
 * @param action Action to call when command ith commandId is received via BLE
 */
void GattRegisterControlCallback(CommandId commandId, BleControlAction&& action)
{
    Gatt::GattSetControlCallback(commandId, std::forward<BleControlAction>(action));
}

} // namespace Bluetooth
```
